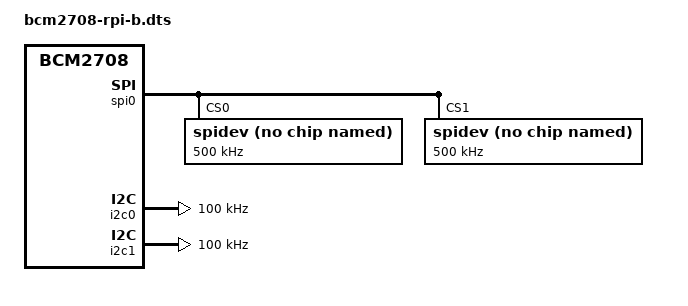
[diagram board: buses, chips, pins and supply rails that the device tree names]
/dts-v1/;

/include/ "bcm2708-rpi.dtsi"

&spi0 {
	status = "okay";

	spidev@0{
		compatible = "spidev";
		reg = <0>;	/* CE0 */
		#address-cells = <1>;
		#size-cells = <0>;
		spi-max-frequency = <500000>;
		// Mode 0 (CPOL = 0, CPHA = 0)
		status = "okay";
	};

	spidev@1{
		compatible = "spidev";
		reg = <1>;	/* CE1 */
		#address-cells = <1>;
		#size-cells = <0>;
		spi-max-frequency = <500000>;
		// Mode 0 (CPOL = 0, CPHA = 0)
		status = "okay";
	};
};

&i2c0 {
	status = "okay";
	clock-frequency = <100000>;
};

&i2c1 {
	status = "okay";
	clock-frequency = <100000>;
};
